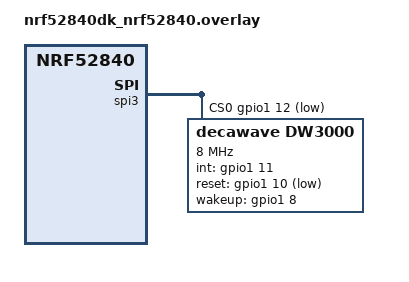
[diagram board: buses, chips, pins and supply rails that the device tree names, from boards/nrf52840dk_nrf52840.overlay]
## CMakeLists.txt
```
cmake_minimum_required(VERSION 3.20.0)

find_package(Zephyr REQUIRED HINTS $ENV{ZEPHYR_BASE})
project(vlos_nrf52840_qorvo_uwb)

target_sources(app PRIVATE
  src/main.c
  src/uwb_adapter_stub.c
)

target_include_directories(app PRIVATE src)
```

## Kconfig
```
source "Kconfig.zephyr"

menu "VLOS nRF52840 UWB options"

config VLOS_ROLE_INITIATOR
    bool "Build initiator role"
    default y
    help
      Enables the initiator-side control loop. Disable this to build the
      responder role instead.

config VLOS_NODE_ID
    string "Node identifier"
    default "node_A"
    help
      Identifier emitted on the serial CSV stream for dashboard alignment.

config VLOS_POLL_INTERVAL_MS
    int "Loop interval in milliseconds"
    range 20 2000
    default 100
    help
      Main loop interval for ranging attempts or status output.

config VLOS_DRIVER_STUB_LOG_PERIOD_MS
    int "Stub log period in milliseconds"
    range 100 10000
    default 1000
    help
      When the Qorvo adapter is still a stub, limit how often placeholder
      status lines are emitted.

# -----------------------------------------------------------------------
# UWB profile
# -----------------------------------------------------------------------

config VLOS_UWB_PROFILE_ROBUST
    bool "Use robust UWB profile (longer RX timeout)"
    default y
    help
      When enabled the DW3000 RX timeout is extended to 60 ms, improving
      reliability in obstructed or high-multipath environments.
      When disabled a 30 ms timeout is used for faster cycling.

# -----------------------------------------------------------------------
# Recovery thresholds
# -----------------------------------------------------------------------

config VLOS_SOFT_RECOVERY_THRESHOLD
    int "Soft recovery threshold (consecutive timeouts before RX_RESTART)"
    range 1 50
    default 5
    help
      How many consecutive timeouts trigger a soft RX_RESTART event.
      The initiator will log RX_RESTART but continue without reinitialising
      the DW3000 hardware.

config VLOS_REINIT_THRESHOLD
    int "Reinit threshold (consecutive timeouts before DW_REINIT)"
    range 1 100
    default 20
    help
      How many consecutive timeouts trigger a full DW_REINIT event.
      The DW3000 is re-initialised via uwb_adapter_init().

# -----------------------------------------------------------------------
# Identity / heartbeat intervals
# -----------------------------------------------------------------------

config VLOS_IDENTITY_INTERVAL_MS
    int "Identity heartbeat interval (ms)"
    range 1000 60000
    default 5000
    help
      How often the node re-emits its BOOT/IDENTITY CSV line so the
      dashboard can classify firmware mode even after connecting late.

config VLOS_HEARTBEAT_INTERVAL_MS
    int "READY heartbeat interval for responder (ms)"
    range 100 5000
    default 1000
    help
      How often the responder emits a READY heartbeat line while waiting
      for Poll frames.

# -----------------------------------------------------------------------
# Responder watchdog
# -----------------------------------------------------------------------

config VLOS_WATCHDOG_SOFT_MS
    int "Responder watchdog soft restart interval (ms)"
    range 500 30000
    default 2000
    help
      If no Poll is received within this window, emit RX_RESTART.

config VLOS_WATCHDOG_REINIT_MS
    int "Responder watchdog reinit interval (ms)"
    range 2000 60000
    default 10000
    help
      If no Poll is received within this window, emit DW_REINIT and
      call uwb_adapter_init() again.

# -----------------------------------------------------------------------
# Timing thresholds
# -----------------------------------------------------------------------

config VLOS_TX_RESP_LATE_MS
    int "TX_RESP_LATE threshold in milliseconds"
    range 2 50
    default 8
    help
      Response TX calls taking longer than this value are classified as
      TX_RESP_LATE instead of TX_RESP_DONE.

endmenu
```

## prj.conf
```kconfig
CONFIG_SERIAL=y
CONFIG_CONSOLE=y
CONFIG_UART_CONSOLE=y
CONFIG_STDOUT_CONSOLE=y
CONFIG_PRINTK=y
CONFIG_LOG=y
CONFIG_LOG_MODE_IMMEDIATE=y
CONFIG_MAIN_STACK_SIZE=4096
CONFIG_HEAP_MEM_POOL_SIZE=4096
CONFIG_NEWLIB_LIBC=y
```

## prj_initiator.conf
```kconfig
CONFIG_VLOS_ROLE_INITIATOR=y
CONFIG_VLOS_NODE_ID="node_A"
CONFIG_VLOS_UWB_PROFILE_ROBUST=y
CONFIG_VLOS_SOFT_RECOVERY_THRESHOLD=5
CONFIG_VLOS_REINIT_THRESHOLD=20
CONFIG_VLOS_IDENTITY_INTERVAL_MS=5000
CONFIG_VLOS_POLL_INTERVAL_MS=100
```

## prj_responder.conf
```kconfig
CONFIG_VLOS_ROLE_INITIATOR=n
CONFIG_VLOS_NODE_ID="node_B"
CONFIG_VLOS_UWB_PROFILE_ROBUST=y
CONFIG_VLOS_IDENTITY_INTERVAL_MS=5000
CONFIG_VLOS_HEARTBEAT_INTERVAL_MS=1000
CONFIG_VLOS_WATCHDOG_SOFT_MS=2000
CONFIG_VLOS_WATCHDOG_REINIT_MS=10000
CONFIG_VLOS_TX_RESP_LATE_MS=8
```

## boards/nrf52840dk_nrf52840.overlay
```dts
/*
 * boards/nrf52840dk_nrf52840.overlay
 *
 * Enable SPI3 (Arduino header) and attach the DWM3000EVB shield.
 *
 * nRF52840 DK Arduino header pin assignments:
 *   SPI3  SCK  = P1.15  (D13)  – from board pinctrl
 *   SPI3  MOSI = P1.13  (D11)  – from board pinctrl
 *   SPI3  MISO = P1.14  (D12)  – from board pinctrl
 *   DW3000 CS  = P1.12  (D10)
 *   DW3000 IRQ = P1.11  (D9)   – active high
 *   DW3000 RST = P1.10  (D8)   – active low
 */

&spi3 {
	status = "okay";

	cs-gpios = <&gpio1 12 GPIO_ACTIVE_LOW>;

	dw3000: dw3000@0 {
		compatible = "decawave,dw3000";
		reg = <0>;
		spi-max-frequency = <8000000>;  /* 8 MHz */
		int-gpios    = <&gpio1 11 GPIO_ACTIVE_HIGH>;
		reset-gpios  = <&gpio1 10 GPIO_ACTIVE_LOW>;
		wakeup-gpios = <&gpio1 8  GPIO_ACTIVE_HIGH>;
	};
};
```

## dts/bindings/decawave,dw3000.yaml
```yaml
# decawave,dw3000.yaml
#
# DT binding for DWM3000EVB shield (DW3000 UWB transceiver via SPI).
# Used with the nRF52840 DK Arduino SPI3 interface.

description: Decawave DW3000 UWB transceiver

compatible: "decawave,dw3000"

include: spi-device.yaml

properties:
  int-gpios:
    type: phandle-array
    required: true
    description: IRQ / data-ready GPIO (active high)

  reset-gpios:
    type: phandle-array
    required: true
    description: Hard-reset GPIO (active low – assert low to reset)

  wakeup-gpios:
    type: phandle-array
    required: false
    description: WAKEUP GPIO (active high – drives DW3000 WAKEUP pin)
```

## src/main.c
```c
#include <errno.h>
#include <stdint.h>
#include <stdio.h>

#include <zephyr/kernel.h>
#include <zephyr/logging/log.h>

#include "uwb_adapter.h"

LOG_MODULE_REGISTER(vlos_uwb, LOG_LEVEL_INF);

/* -----------------------------------------------------------------------
 * Role helpers
 * ----------------------------------------------------------------------- */
#if defined(CONFIG_VLOS_ROLE_INITIATOR)
#define IS_INITIATOR IS_ENABLED(CONFIG_VLOS_ROLE_INITIATOR)
#else
#define IS_INITIATOR false
#endif

#define NODE_ID  CONFIG_VLOS_NODE_ID

/* -----------------------------------------------------------------------
 * Recovery / watchdog state (main-thread only — no locking needed)
 * ----------------------------------------------------------------------- */
static uint32_t g_consecutive_timeout;
static uint32_t g_reinit_count;

static int64_t g_last_identity_ms;
static int64_t g_last_heartbeat_ms;

/* Responder watchdog */
static int64_t g_last_poll_seen_ms;
static int64_t g_watchdog_soft_stamp_ms;

/* -----------------------------------------------------------------------
 * CSV identity / config emitters
 * ----------------------------------------------------------------------- */
static void emit_identity(bool is_boot)
{
    const char *tag  = is_boot ? "BOOT" : "IDENTITY";
    const char *role = IS_INITIATOR ? "INITIATOR" : "RESPONDER";

    printk("%s,%s,%s,hardware=nRF52840_DK+DWM3000,"
           "firmware=vlos_nrf52840_uwb,build=%s %s\n",
           NODE_ID, tag, role, __DATE__, __TIME__);
    printk("%s,CONFIG,role=%s,channel=5,"
           "addr=%s,soft_thresh=%d,reinit_thresh=%d\n",
           NODE_ID, role,
           IS_INITIATOR ? "0xA001" : "0xB001",
           CONFIG_VLOS_SOFT_RECOVERY_THRESHOLD,
           CONFIG_VLOS_REINIT_THRESHOLD);

    g_last_identity_ms = k_uptime_get();
}

/* -----------------------------------------------------------------------
 * Recovery event emitters
 * ----------------------------------------------------------------------- */
static void emit_restart(const char *reason)
{
    printk("%u,%s,RX_RESTART,reason=%s\n",
           k_uptime_get_32(), NODE_ID, reason);
}

static void emit_reinit(const char *reason)
{
    g_reinit_count++;
    printk("%u,%s,DW_REINIT,reason=%s,count=%u\n",
           k_uptime_get_32(), NODE_ID, reason, g_reinit_count);
}

/* -----------------------------------------------------------------------
 * Recovery logic — called after each initiator step
 * ----------------------------------------------------------------------- */
static void check_recovery(void)
{
    if (g_consecutive_timeout == 0) {
        return;
    }

    if ((g_consecutive_timeout % CONFIG_VLOS_REINIT_THRESHOLD) == 0) {
        emit_reinit("TIMEOUT_BURST");
        uwb_adapter_init(IS_INITIATOR);
    } else if ((g_consecutive_timeout % CONFIG_VLOS_SOFT_RECOVERY_THRESHOLD) == 0) {
        emit_restart("CONSEC_TIMEOUT");
    }
}

/* -----------------------------------------------------------------------
 * Diagnostic callback — fired synchronously from inside uwb_adapter_step()
 *
 * Because this executes on the main thread it has direct access to all
 * main.c globals (g_consecutive_timeout, g_last_poll_seen_ms, etc.).
 * ----------------------------------------------------------------------- */
static void on_diag_event(enum uwb_diag_event evt,
                          const struct uwb_diag_extra *extra)
{
    uint32_t ts  = k_uptime_get_32();
    uint32_t seq = extra ? extra->seq_id : 0U;

    switch (evt) {

    /* ---- Initiator events ---- */
    case UWB_EVT_TX_POLL:
        printk("%u,%s,TX_POLL,seq=%u\n", ts, NODE_ID, seq);
        break;

    case UWB_EVT_RX_RESP_OK:
        printk("%u,%s,RX_RESP_OK,seq=%u\n", ts, NODE_ID, seq);
        break;

    case UWB_EVT_RX_RESP_TIMEOUT:
        g_consecutive_timeout++;
        printk("%u,%s,RX_RESP_TIMEOUT,seq=%u,consecutive_timeout=%u\n",
               ts, NODE_ID, seq, g_consecutive_timeout);
        /* Legacy compact form — preserves backward compat with range chart */
        printk("%u,%s,%u,,RX_RESP_TIMEOUT\n", ts, NODE_ID, seq);
        break;

    case UWB_EVT_RX_RESP_ERR:
        g_consecutive_timeout++;
        printk("%u,%s,RX_RESP_ERR,seq=%u,consecutive_timeout=%u\n",
               ts, NODE_ID, seq, g_consecutive_timeout);
        break;

    case UWB_EVT_TX_FINAL:
        printk("%u,%s,TX_FINAL,seq=%u\n", ts, NODE_ID, seq);
        break;

    case UWB_EVT_RX_RTINFO_OK:
        printk("%u,%s,RX_RTINFO_OK,seq=%u\n", ts, NODE_ID, seq);
        break;

    case UWB_EVT_RX_RTINFO_TIMEOUT:
        g_consecutive_timeout++;
        printk("%u,%s,RX_RTINFO_TIMEOUT,seq=%u,consecutive_timeout=%u\n",
               ts, NODE_ID, seq, g_consecutive_timeout);
        break;

    case UWB_EVT_RANGE_OK:
        g_consecutive_timeout = 0;
        printk("%u,%s,RANGE_OK,seq=%u,range_m=%.3f\n",
               ts, NODE_ID, seq, (double)extra->range_m);
        /* Legacy compact form */
        printk("%u,%s,%u,%.3f,OK\n",
               ts, NODE_ID, seq, (double)extra->range_m);
        break;

    case UWB_EVT_INVALID_RANGE:
        printk("%u,%s,INVALID_RANGE,seq=%u,range_m=%.3f\n",
               ts, NODE_ID, seq, (double)extra->range_m);
        break;

    /* ---- Responder events ---- */
    case UWB_EVT_RX_ARMED:
        /* High-frequency — only emit if debugging is needed */
        break;

    case UWB_EVT_RX_POLL:
        g_last_poll_seen_ms     = k_uptime_get();
        g_watchdog_soft_stamp_ms = g_last_poll_seen_ms;
        printk("%u,%s,RX_POLL,seq=%u\n", ts, NODE_ID, seq);
        break;

    case UWB_EVT_TX_RESP_SCHEDULED:
        printk("%u,%s,TX_RESP_SCHEDULED,seq=%u\n", ts, NODE_ID, seq);
        break;

    case UWB_EVT_TX_RESP_DONE:
        printk("%u,%s,TX_RESP_DONE,seq=%u\n", ts, NODE_ID, seq);
        break;

    case UWB_EVT_TX_RESP_LATE:
        printk("%u,%s,TX_RESP_LATE,seq=%u,elapsed_ms=%u\n",
               ts, NODE_ID, seq, extra->elapsed_ms);
        break;

    case UWB_EVT_RX_FINAL_OK:
        printk("%u,%s,RX_FINAL_OK,seq=%u\n", ts, NODE_ID, seq);
        break;

    case UWB_EVT_RX_FINAL_TIMEOUT:
        printk("%u,%s,RX_FINAL_TIMEOUT,seq=%u\n", ts, NODE_ID, seq);
        break;

    case UWB_EVT_TX_RTINFO_DONE:
        printk("%u,%s,TX_RTINFO_DONE,seq=%u\n", ts, NODE_ID, seq);
        /* Legacy compact form for responder */
        printk("%u,%s,%u,,RESP_OK\n", ts, NODE_ID, seq);
        break;

    case UWB_EVT_RX_ERR:
        printk("%u,%s,RX_ERR\n", ts, NODE_ID);
        break;

    default:
        break;
    }
}

/* -----------------------------------------------------------------------
 * Responder watchdog (polled once per main-loop iteration)
 * ----------------------------------------------------------------------- */
static void responder_watchdog_tick(void)
{
    if (g_last_poll_seen_ms == 0) {
        return;
    }

    int64_t now   = k_uptime_get();
    int64_t since = now - g_last_poll_seen_ms;
    int64_t since_soft = now - g_watchdog_soft_stamp_ms;

    if (since >= CONFIG_VLOS_WATCHDOG_REINIT_MS) {
        emit_reinit("NO_POLL");
        uwb_adapter_init(false);
        g_last_poll_seen_ms      = now;
        g_watchdog_soft_stamp_ms = now;
    } else if (since_soft >= CONFIG_VLOS_WATCHDOG_SOFT_MS) {
        emit_restart("WATCHDOG_NO_POLL");
        g_watchdog_soft_stamp_ms = now;
    }
}

/* -----------------------------------------------------------------------
 * main
 * ----------------------------------------------------------------------- */
int main(void)
{
    /* Brief delay for serial console stabilisation */
    k_msleep(50);

    /* Register diagnostic callback BEFORE init so boot events fire */
    uwb_adapter_set_diag_cb(on_diag_event);

    /* BOOT banner */
    emit_identity(true);

    int ret = uwb_adapter_init(IS_INITIATOR);
    if (ret != 0) {
        printk("%s,FATAL,INIT_ERROR,code=%d\n", NODE_ID, ret);
    }

    /* Seed watchdog timestamps */
    g_last_poll_seen_ms      = k_uptime_get();
    g_watchdog_soft_stamp_ms = g_last_poll_seen_ms;
    g_last_heartbeat_ms      = k_uptime_get();

    int64_t last_stub_ms = 0;

    while (1) {
        int64_t now_ms = k_uptime_get();

        /* IDENTITY heartbeat every CONFIG_VLOS_IDENTITY_INTERVAL_MS (5 s) */
        if ((now_ms - g_last_identity_ms) >= CONFIG_VLOS_IDENTITY_INTERVAL_MS) {
            emit_identity(false);
        }

        if (!IS_INITIATOR) {
            /* READY heartbeat (1 Hz) */
            if ((now_ms - g_last_heartbeat_ms) >= CONFIG_VLOS_HEARTBEAT_INTERVAL_MS) {
                printk("%u,%s,READY\n", k_uptime_get_32(), NODE_ID);
                g_last_heartbeat_ms = now_ms;
            }
            responder_watchdog_tick();
        }

        /* Run one TWR step — per-stage events fire via on_diag_event() */
        struct uwb_measurement meas = {
            .has_range = false,
            .range_m   = 0.0f,
            .status    = "IDLE",
        };

        ret = uwb_adapter_step(&meas);

        if (ret == -ENOSYS) {
            /* Stub mode: throttled status line */
            if ((now_ms - last_stub_ms) >= CONFIG_VLOS_DRIVER_STUB_LOG_PERIOD_MS) {
                printk("%u,%s,,,%s\n",
                       k_uptime_get_32(), NODE_ID, meas.status);
                last_stub_ms = now_ms;
            }
        } else if (IS_INITIATOR) {
            check_recovery();
        }

        k_sleep(K_MSEC(CONFIG_VLOS_POLL_INTERVAL_MS));
    }

    return 0;
}
```

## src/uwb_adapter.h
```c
#ifndef VLOS_UWB_ADAPTER_H_
#define VLOS_UWB_ADAPTER_H_

#include <stdbool.h>
#include <stdint.h>

/*
 * Per-stage DS-TWR diagnostic event types.
 * Fired synchronously from within uwb_adapter_step() via the registered
 * callback.  main.c uses these to emit the Nordic diagnostic CSV protocol
 * (see firmware/UWB_DWM3000_NRF52840/diagnostic_protocol.md).
 */
enum uwb_diag_event {
    /* Initiator (node_A) events */
    UWB_EVT_TX_POLL = 0,
    UWB_EVT_RX_RESP_OK,
    UWB_EVT_RX_RESP_TIMEOUT,
    UWB_EVT_RX_RESP_ERR,
    UWB_EVT_TX_FINAL,
    UWB_EVT_RX_RTINFO_OK,
    UWB_EVT_RX_RTINFO_TIMEOUT,
    UWB_EVT_RANGE_OK,
    UWB_EVT_INVALID_RANGE,
    /* Responder (node_B) events */
    UWB_EVT_RX_ARMED,
    UWB_EVT_RX_POLL,
    UWB_EVT_TX_RESP_SCHEDULED,
    UWB_EVT_TX_RESP_DONE,
    UWB_EVT_TX_RESP_LATE,
    UWB_EVT_RX_FINAL_OK,
    UWB_EVT_RX_FINAL_TIMEOUT,
    UWB_EVT_TX_RTINFO_DONE,
    UWB_EVT_RX_ERR,
};

/* Extra data passed with each diagnostic event callback invocation. */
struct uwb_diag_extra {
    uint32_t seq_id;      /* cycle sequence number (echoed on responder) */
    float    range_m;     /* valid for UWB_EVT_RANGE_OK / UWB_EVT_INVALID_RANGE */
    uint32_t elapsed_ms;  /* valid for UWB_EVT_TX_RESP_LATE */
};

typedef void (*uwb_diag_cb_t)(enum uwb_diag_event evt,
                               const struct uwb_diag_extra *extra);

/*
 * Register a diagnostic callback.
 * Must be called before uwb_adapter_init().
 * The callback is invoked synchronously from within uwb_adapter_step().
 */
void uwb_adapter_set_diag_cb(uwb_diag_cb_t cb);

/*
 * Legacy measurement result — preserved for compact CSV backward compatibility.
 */
struct uwb_measurement {
    bool has_range;
    float range_m;
    const char *status;
};

int uwb_adapter_init(bool initiator_role);

/*
 * Run one DS-TWR step.
 * Returns  0       on any completed step (check m->status for result)
 *         -ENOSYS  when no driver is compiled in (stub mode)
 *         <0       on driver-level error
 *
 * If a diag callback is registered it fires once or more during this call
 * for each stage that completes or times out.
 */
int uwb_adapter_step(struct uwb_measurement *measurement);

#endif /* VLOS_UWB_ADAPTER_H_ */
```

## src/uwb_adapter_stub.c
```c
#include "uwb_adapter.h"

#include <errno.h>
#include <stddef.h>
#include <stdbool.h>

static bool g_initiator_role;

/* No-op: stub has no per-stage events to emit */
void uwb_adapter_set_diag_cb(uwb_diag_cb_t cb)
{
    (void)cb;
}

int uwb_adapter_init(bool initiator_role)
{
    g_initiator_role = initiator_role;
    return 0;
}

int uwb_adapter_step(struct uwb_measurement *measurement)
{
    if (measurement != NULL) {
        measurement->has_range = false;
        measurement->range_m = 0.0f;
        measurement->status = g_initiator_role ? "DRIVER_STUB" : "RESPONDER_IDLE";
    }

    return -ENOSYS;
}
```
